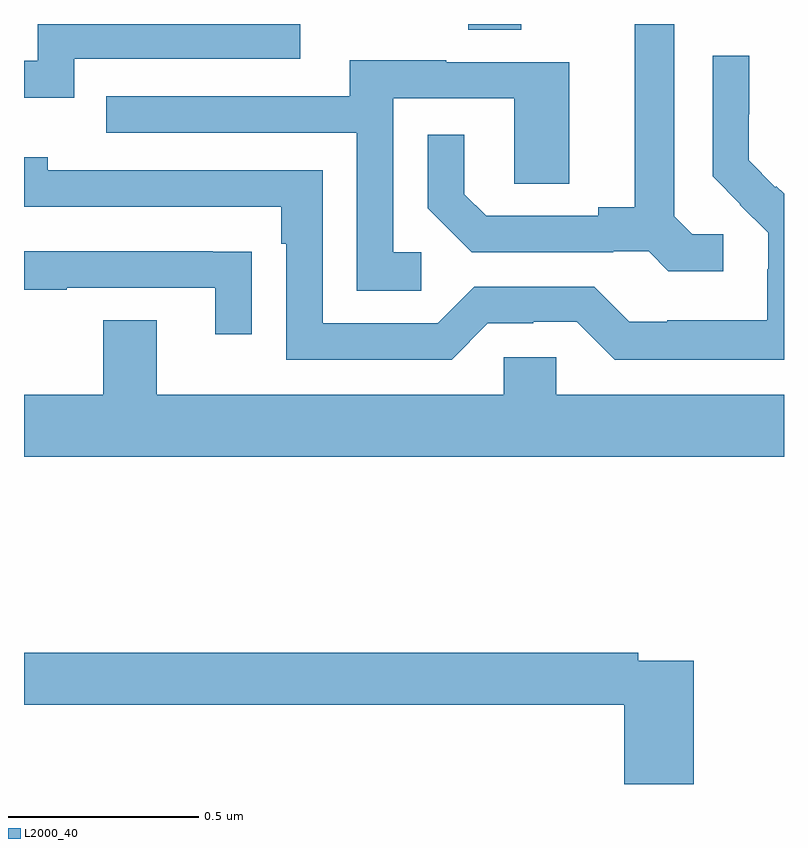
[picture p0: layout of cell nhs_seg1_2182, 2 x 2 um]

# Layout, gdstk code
import gdstk
lib = gdstk.Library(unit=1e-6, precision=1e-09)
def R(c, l, rs):  # rectangles x0, y0, x1, y1
    for r in rs: c.add(gdstk.rectangle(r[:2], r[2:], *l))
def P(c, l, *ps):  # polygons
    for p in ps: c.add(gdstk.Polygon(p, *l))
L2000_40 = (2000, 40)

nhs_seg1_2182 = lib.new_cell('nhs_seg1_2182')
R(nhs_seg1_2182, L2000_40, [(139.169,558.184,139.309,558.199)])
P(nhs_seg1_2182, L2000_40, [(139.84,557.646),(139.758,557.646),(139.711,557.693),(139.711,558.199),(139.607,558.199),(139.607,557.717),(139.511,557.717),(139.511,557.694),(139.216,557.694),(139.159,557.751),(139.159,557.908),(139.062,557.908),(139.062,557.714),(139.178,557.598),(139.55,557.598),(139.55,557.601),(139.644,557.601),(139.696,557.549),(139.84,557.549)],
  [(138.132,558.108),(138.727,558.108),(138.727,558.199),(138.036,558.199),(138.036,558.102),(138,558.102),(138,558.005),(138.132,558.005)],
  [(140,557.752),(139.98,557.772),(139.977,557.769),(139.907,557.84),(139.907,557.962),(139.908,557.962),(139.908,558.116),(139.812,558.116),(139.812,557.798),(139.885,557.725),(139.884,557.724),(139.958,557.65),(139.958,557.553),(139.956,557.553),(139.956,557.419),(139.693,557.419),(139.693,557.415),(139.593,557.415),(139.5,557.508),(139.185,557.508),(139.089,557.412),(138.786,557.412),(138.786,557.814),(138.062,557.814),(138.062,557.848),(138,557.848),(138,557.718),(138.677,557.718),(138.677,557.621),(138.69,557.621),(138.69,557.316),(139.125,557.316),(139.221,557.412),(139.34,557.412),(139.34,557.415),(139.455,557.415),(139.555,557.315),(140,557.315)],
  [(139.045,557.598),(138.972,557.598),(138.972,558.003),(139.29,558.003),(139.29,557.779),(139.435,557.779),(139.435,558.099),(139.111,558.099),(139.111,558.103),(138.857,558.103),(138.857,558.009),(138.217,558.009),(138.217,557.913),(138.876,557.913),(138.876,557.497),(139.045,557.497)],
  [(138.599,557.6),(138.497,557.6),(138.497,557.601),(138,557.601),(138,557.505),(138.001,557.505),(138.001,557.5),(138.113,557.5),(138.113,557.505),(138.503,557.505),(138.503,557.382),(138.599,557.382)],
  [(140,557.224),(139.401,557.224),(139.401,557.322),(139.263,557.322),(139.263,557.224),(138.349,557.224),(138.349,557.419),(138.209,557.419),(138.209,557.224),(138,557.224),(138,557.06),(140,557.06)],
  [(139.763,556.524),(139.616,556.524),(139.616,556.544),(138,556.544),(138,556.408),(139.58,556.408),(139.58,556.199),(139.763,556.199)])

lib.write_gds('nhs_seg1_2182.gds')
